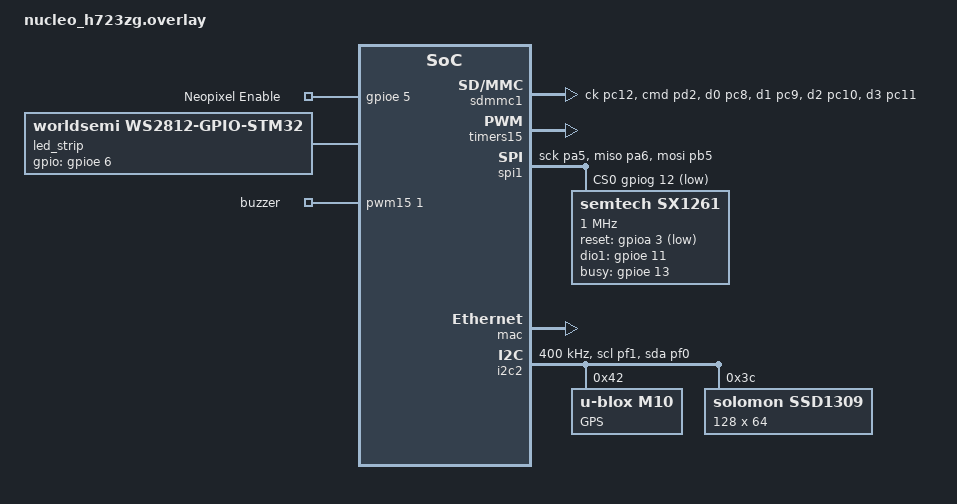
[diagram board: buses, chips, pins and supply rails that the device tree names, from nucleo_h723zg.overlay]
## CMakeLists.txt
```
cmake_minimum_required(VERSION 3.20.0)
set(BOARD nucleo_h723zg)
set(BOARD_FLASH_RUNNER openocd)
set(BOARD_DEBUG_RUNNER openocd)

set(MAVLINK_URL https://github.com/RedPropulsion/mavlink-generated)
set(MAVLINK_TAG main)

include(${CMAKE_CURRENT_SOURCE_DIR}/../../cmake/include_custom_modules.cmake)
find_package(Zephyr REQUIRED HINTS $ENV{ZEPHYR_BASE})
project(ObelICS)
zephyr_include_directories(include)
# ============ FONT GENERATION ============
set(gen_dir ${CMAKE_BINARY_DIR}/include/generated/)
find_package(Python3 REQUIRED COMPONENTS Interpreter)
add_custom_command(
    OUTPUT ${gen_dir}/cfb_font_templeos.h
    COMMAND 
        ${Python3_EXECUTABLE} 
        ${ZEPHYR_BASE}/scripts/build/gen_cfb_font_header.py
        --zephyr-base ${ZEPHYR_BASE}
        --input ${CMAKE_SOURCE_DIR}/fonts/templeos.otf
        --output ${gen_dir}/cfb_font_templeos.h
        --width 8
        --height 8
        -s 8
    DEPENDS ${CMAKE_SOURCE_DIR}/fonts/templeos.otf
    COMMENT "Generating CFB font header from templeos.otf"
)
add_custom_target(generate_cfb_font DEPENDS ${gen_dir}/cfb_font_templeos.h)
add_dependencies(app generate_cfb_font)

target_include_directories(app PRIVATE ${gen_dir})

target_sources(app PRIVATE
    src/main.c
    src/state_machine.c
)
```

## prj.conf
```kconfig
# Debug
CONFIG_DEBUG=y
CONFIG_FAULT_DUMP=2
CONFIG_EXTRA_EXCEPTION_INFO=y
CONFIG_CPU_LOAD=y
CONFIG_EARLY_CONSOLE=y
CONFIG_BOOT_BANNER=y
CONFIG_CLOCK_CONTROL_LOG_LEVEL_DBG=y
CONFIG_LOG=y
CONFIG_LOG_BACKEND_UART=y
CONFIG_LOG_DEFAULT_LEVEL=3
CONFIG_TRACING=y

CONFIG_STACK_SENTINEL=y
CONFIG_STACK_CANARIES=y

# CONFIG_THREAD_ANALYZER=y
# CONFIG_THREAD_ANALYZER_AUTO=y
# CONFIG_THREAD_ANALYZER_AUTO_INTERVAL=5
# CONFIG_THREAD_ANALYZER_USE_LOG=y


CONFIG_HEAP_MEM_POOL_SIZE=4096
CONFIG_MAIN_STACK_SIZE=4096
CONFIG_SYSTEM_WORKQUEUE_STACK_SIZE=4096
CONFIG_LOG_PROCESS_THREAD_STACK_SIZE=4096

# CONFIG_THREAD_RUNTIME_STATS=y
# CONFIG_WORKQUEUE_WORK_TIMEOUT=y



# Interfaces
CONFIG_GPIO=y
CONFIG_CONSOLE=y
CONFIG_SERIAL=y
CONFIG_UART_CONSOLE=y
CONFIG_SPI=y
CONFIG_I2C=y
CONFIG_PRINTK=y
CONFIG_EVENTS=y
CONFIG_UART_ASYNC_API=y

# SERVO
CONFIG_SERVO=y


#DMA
CONFIG_DMA=y
CONFIG_DCACHE=n
CONFIG_DMA_STM32=y
CONFIG_SPI_STM32_DMA=y


# I2C
CONFIG_I2C_STM32=y
CONFIG_I2C_STM32_V2_DMA=n

# PWM
CONFIG_PWM=y
CONFIG_PWM_STM32=y

## Sensor API
CONFIG_SENSOR_ASYNC_API=y

# LED strip support
CONFIG_LED_STRIP=y
CONFIG_WS2812_GPIO_STM32=y

# LoRa
CONFIG_LORA=y
CONFIG_LORA_INIT_PRIORITY=90
CONFIG_LORA_SX126X=y

# SD card support
CONFIG_FILE_SYSTEM=y
CONFIG_FILE_SYSTEM_LIB_LINK=y
CONFIG_DISK_ACCESS=y
CONFIG_SDMMC_STM32_CLOCK_CHECK=n
CONFIG_DISK_DRIVER_SDMMC=y
CONFIG_SDMMC_STM32=y
CONFIG_FAT_FILESYSTEM_ELM=y
CONFIG_MAIN_STACK_SIZE=4096
# Increase main stack size to accommodate file system operations

# Networking
CONFIG_NETWORKING=y
CONFIG_NET_L2_ETHERNET=y
CONFIG_NET_IPV4=y
CONFIG_NET_UDP=y
CONFIG_NET_SOCKETS=y
CONFIG_POSIX_API=y
CONFIG_ZVFS_POLL_MAX=10

CONFIG_NET_CONFIG_SETTINGS=y
CONFIG_NET_CONFIG_NEED_IPV4=y
CONFIG_NET_CONFIG_MY_IPV4_ADDR="192.168.1.100"
CONFIG_NET_CONFIG_MY_IPV4_NETMASK="255.255.255.0"
CONFIG_NET_CONFIG_MY_IPV4_GW="192.168.1.101"

# UDP Client
CONFIG_UDP_CLIENT=y

# Display module
CONFIG_LIB_DISPLAY=y

# Encoder input
CONFIG_ENCODER_INPUT=y

# Menu system
CONFIG_LIB_MENU=y
CONFIG_LIB_MENU_STACK_SIZE=2048
CONFIG_LIB_MENU_PRIORITY=10
CONFIG_LIB_MENU_MIN_REDRAW_MS=200

# Kernel poll API (required for menu)
CONFIG_POLL=y


# GNSS (M10)
CONFIG_GNSS=y
CONFIG_GNSS_U_BLOX_M10=y
# CONFIG_GNSS_LOG_LEVEL_WRN=y


# OLED display
CONFIG_DISPLAY=y
CONFIG_SSD1306=y
CONFIG_SSD1306_DEFAULT_CONTRAST=128
#Max brightness. Adjust as needed.

## Character framebuffer for display
CONFIG_CHARACTER_FRAMEBUFFER=y
CONFIG_CHARACTER_FRAMEBUFFER_USE_DEFAULT_FONTS=y

#MavLink
CONFIG_MAVWRAP=y
CONFIG_SERIAL=y
CONFIG_MAVWRAP_TRANSPORT_UART=y
CONFIG_MAVWRAP_DIALECT_COMMON=y

#Encoder input log level
CONFIG_ENCODER_INPUT_LOG_LEVEL=1
# Logger
CONFIG_FILE_LOGGER=y
```

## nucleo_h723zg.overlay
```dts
#include <zephyr/dt-bindings/led/led.h>
#include <zephyr/dt-bindings/pwm/pwm.h>
#include <zephyr/dt-bindings/clock/stm32h7_clock.h>




/ {
    chosen {
        zephyr,display = &ssd1309;
    };
    
    rotary_encoder: rotary_encoder {
        compatible = "panoramix,rotary-encoder";   /* custom, no driver binds to this */
        encoder_s: encoder_switch {
            gpios = <&gpiog 0 (GPIO_PULL_UP | GPIO_ACTIVE_LOW)>;
            label = "Encoder Switch";
        };
        encoder_a: encoder_a {
            gpios = <&gpiod 0 (GPIO_PULL_UP | GPIO_ACTIVE_HIGH)>;
            label = "Encoder Phase A";
        };
        encoder_b: encoder_b {
            gpios = <&gpiod 1 (GPIO_PULL_UP | GPIO_ACTIVE_HIGH)>;
            label = "Encoder Phase B";
        };
    };

    neopixel_enable: neopixel-enable {
        compatible = "gpio-keys";
        neopixel_en: neopixel_en {
            gpios = <&gpioe 5 GPIO_ACTIVE_HIGH>;
            label = "Neopixel Enable";
        };
    };

    led_strip: ws2812 {
        status = "okay";
        
        compatible = "worldsemi,ws2812-gpio-stm32";
        gpios = <&gpioe 6 GPIO_ACTIVE_HIGH>;
        chain-length = <4>;
        cpu-mhz = <550>;
        color-mapping = [ 01 02 03 ];
    };

	pwmdevices: pwmdevices {
		compatible = "pwm-leds";
		status = "okay";

		buzzer: buzzer {
			pwms = <&pwm15 1 250000
				(PWM_POLARITY_INVERTED | STM32_PWM_COMPLEMENTARY)>;
		};
	};

};

/* Clocks for SD */
/* Using default PLL1_Q (137.5MHz) with internal SDMMC divider = 3 gives ~45.8MHz */
/* Using interrupt mode (no DMA) to avoid MPU faults */
&sdmmc1 {
    disk-name = "SD";
    status = "okay";

    clk-div = <3>;  /* 137.5MHz / 3 = ~45.8MHz (within SD spec) */
    /delete-property/ dmas;  /* Use interrupt mode instead of DMA */
    pinctrl-0 = <&sdmmc1_ck_pc12 &sdmmc1_cmd_pd2 &sdmmc1_d0_pc8 &sdmmc1_d1_pc9 &sdmmc1_d2_pc10 &sdmmc1_d3_pc11>;
    pinctrl-names = "default";
};

/* Clocks for WS2812B */
&timers15 {
    status = "okay";
    st,prescaler = <31>;

    pwm15: pwm {
        status = "okay";
        pinctrl-0 = <&tim15_ch1n_pe4>;
        pinctrl-names = "default";
    };
};

/* DMA - disabled for now, I2C DMA not working on STM32H723 */
&dma1 {
    status = "okay";
};

&dmamux1 {
    status = "okay";
};


/**********************************************/
/*              Obelics LoRa                  */
/**********************************************/

&spi1 {
    status = "okay";
    pinctrl-names = "default";

    pinctrl-0 = <&spi1_sck_pa5 &spi1_miso_pa6 &spi1_mosi_pb5>;
    cs-gpios = <&gpiog 12 (GPIO_ACTIVE_LOW)>;

    lora_sx1261: lora@0 {
        status = "okay";
        compatible = "semtech,sx1261";
        reg = <0>;
        spi-max-frequency = <1000000>;
        label = "SX1261";

        reset-gpios = <&gpioa 3 (GPIO_ACTIVE_LOW | GPIO_PULL_UP)>;
        dio1-gpios = <&gpioe 11 (GPIO_PULL_DOWN | GPIO_ACTIVE_HIGH)>;
        busy-gpios = <&gpioe 13 (GPIO_PULL_UP | GPIO_ACTIVE_HIGH)>;
    };
};


/**********************************************/
/*              Ethernet                      */
/**********************************************/

&mac {
    status = "okay";
};


/**********************************************/
/*              GNSS (M10)                   */
/**********************************************/

&i2c2 {
    status = "okay";
    pinctrl-0 = <&i2c2_scl_pf1 &i2c2_sda_pf0>;
    pinctrl-names = "default";

    clock-frequency = <I2C_BITRATE_FAST>; /* 100kHz is too slow for M10, use 400kHz */

    dmas = <&dmamux1 0 36 STM32_DMA_PERIPH_TX>,
           <&dmamux1 1 35 STM32_DMA_PERIPH_RX>;

    dma-names = "tx", "rx";

    gps: gps@42 {
        compatible = "u-blox,m10";
        reg = <0x42>;
        label = "GPS";
    };


    ssd1309: ssd1309@3c {
        compatible = "solomon,ssd1309";
        label = "SSD1309";
        reg = <0x3c>;
        width = <128>;
        height = <64>;
        
        // SSD1309 specific settings (adjust based on panel vendor)
        segment-offset = <0>;
        page-offset = <0>;
        display-offset = <0>;
        multiplex-ratio = <63>;
        //segment-remap;
        //com-invdir;
        prechargep = <0x22>;
    };
};
```

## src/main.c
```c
#include <zephyr/kernel.h>
#include <zephyr/device.h>
#include <zephyr/drivers/gpio.h>
#include <zephyr/drivers/pwm.h>
#include <zephyr/sys/util.h>
#include <zephyr/drivers/lora.h>
#include <zephyr/logging/log.h>
#include <zephyr/logging/log_ctrl.h>
#include <zephyr/drivers/display.h>
#include <zephyr/fs/fs.h>
#include <zephyr/storage/disk_access.h>
#include <zephyr/drivers/led_strip.h>
#include <zephyr/display/cfb.h>
#include "sound.h"
#include "udp_client.h"
#include "gnss_u_blox_m10.h"
#include "display.h"
#include "menu.h"
#include <cfb_font_templeos.h>
#include <zephyr/drivers/i2c.h>
#include "file_logger.h"
#include <stdint.h>
#include <zephyr/drivers/servo.h>
#include <zephyr/drivers/uart.h>



LOG_MODULE_REGISTER(main, LOG_LEVEL_INF);

/* ------------------------------------------------------------------ *
 * File logger
 * ------------------------------------------------------------------ */

static struct file_logger_file log_file;

static void init_storage(void)
{
    int ret = file_logger_init();
    if (ret < 0) {
        LOG_ERR("Failed to init file logger: %d", ret);
        return;
    }

    ret = file_logger_open("/SD:/packets.log", FS_O_CREATE | FS_O_READ | FS_O_WRITE | FS_O_APPEND, &log_file);
    if (ret < 0) {
        LOG_ERR("Failed to open log file: %d", ret);
        return;
    }

    LOG_INF("File logger initialized and log file opened");
}

/* ------------------------------------------------------------------ *
 * LoRa
 * ------------------------------------------------------------------ */
#define LORA_NODE DT_NODELABEL(lora_sx1261)
static const struct device *lora_dev = DEVICE_DT_GET(LORA_NODE);
static struct lora_modem_config lora_tx_config;

/* ------------------------------------------------------------------ *
 * Neopixel
 * ------------------------------------------------------------------ */
#define STRIP_NODE  DT_NODELABEL(led_strip)
#define NUM_LEDS    DT_PROP(STRIP_NODE, chain_length)

static const struct device *strip = DEVICE_DT_GET(STRIP_NODE);
static const struct gpio_dt_spec neopixel_en =
    GPIO_DT_SPEC_GET(DT_NODELABEL(neopixel_en), gpios);

/* ------------------------------------------------------------------ *
 * Servo
 * ------------------------------------------------------------------ */

 const struct device *yaw_servo = DEVICE_DT_GET(DT_NODELABEL(yaw_servo));
 const struct device *pitch_servo = DEVICE_DT_GET(DT_NODELABEL(pitch_servo));

/* ------------------------------------------------------------------ *
 * Buzzer
 * ------------------------------------------------------------------ */

static const struct pwm_dt_spec buzzer = PWM_DT_SPEC_GET(DT_NODELABEL(buzzer));

/* ------------------------------------------------------------------ *
 * Button
 * ------------------------------------------------------------------ */
static const struct gpio_dt_spec user_btn =
    GPIO_DT_SPEC_GET(DT_NODELABEL(user_button), gpios);

static struct gpio_callback btn_cb_data;
static struct k_work button_work;
static uint8_t demo = 0;

void sound_finished_cb(void) {
    LOG_INF("Sound playback finished");
}

static void button_work_handler(struct k_work *work)
{
    ARG_UNUSED(work);
    LOG_INF("Button work: toggling sound demo");
    switch (demo++ % 4) {
    case 0: play_sound(success_sound, success_sound_len, sound_finished_cb); break;
    case 1: play_sound(alert_sound, alert_sound_len, sound_finished_cb); break;
    case 2: play_sound(acknowledge_sound, acknowledge_sound_len, sound_finished_cb); break;
    case 3: play_sound(error_sound, error_sound_len, sound_finished_cb); break;
    }
}

void button_handler(const struct device *dev, struct gpio_callback *cb,
                    uint32_t pins)
{
    k_work_submit(&button_work);
}

/* ------------------------------------------------------------------ *
 * LED blink timers
 * ------------------------------------------------------------------ */
struct led_data {
    struct gpio_dt_spec gpio;
    struct k_timer timer;
    int index;
};

static struct led_data leds[] = {
    { .gpio = GPIO_DT_SPEC_GET(DT_ALIAS(led0), gpios), .index = 0 },
    { .gpio = GPIO_DT_SPEC_GET(DT_ALIAS(led1), gpios), .index = 1 },
    { .gpio = GPIO_DT_SPEC_GET(DT_ALIAS(led2), gpios), .index = 2 }
};

volatile int selected_led = 0;
volatile uint32_t intervals[] = {500, 500, 500};

void led_timer_handler(struct k_timer *timer_id) {
    struct led_data *led = CONTAINER_OF(timer_id, struct led_data, timer);
    gpio_pin_toggle_dt(&led->gpio);
    k_timer_start(&led->timer, K_MSEC(intervals[led->index]), K_NO_WAIT);
}

/* ------------------------------------------------------------------ *
 * Oled Display
 * ------------------------------------------------------------------ */

const struct device *i2c_dev = DEVICE_DT_GET(DT_NODELABEL(i2c2));



/* ------------------------------------------------------------------ *
 * GPS
 * ------------------------------------------------------------------ */

 

/* ------------------------------------------------------------------ *
 * Main
 * ------------------------------------------------------------------ */
int main(void)
{   
     LOG_INF("Starting main()");
    int ret;

    int32_t angle_mdeg = 0;

    k_sleep(K_MSEC(500));

    LOG_INF("YAW - PING");
    ret = servo_ping(yaw_servo);
    LOG_INF("yaw ping ret=%d", ret);

    k_sleep(K_MSEC(200));

    LOG_INF("PITCH - PING");
    ret = servo_ping(pitch_servo);
    LOG_INF("pitch ping ret=%d", ret);

    k_sleep(K_MSEC(200));

    LOG_INF("YAW - SET - 0");
    ret = servo_set_position(yaw_servo, 0);
    LOG_INF("yaw set ret=%d", ret);

    k_msleep(50);

    LOG_INF("YAW - GET");
    ret = servo_get_position(yaw_servo, &angle_mdeg);
    LOG_INF("yaw get ret=%d pos=%d mdeg", ret, angle_mdeg);

    k_sleep(K_MSEC(500));

    LOG_INF("PITCH - SET - 210");
    ret = servo_set_position(pitch_servo, 210 * 1000);
    LOG_INF("pitch set ret=%d", ret);

    k_msleep(50);

    LOG_INF("PITCH - GET");
    ret = servo_get_position(pitch_servo, &angle_mdeg);
    LOG_INF("pitch get ret=%d pos=%d mdeg", ret, angle_mdeg);

    k_sleep(K_MSEC(500));

    LOG_INF("YAW - SET - 90");
    ret = servo_set_position(yaw_servo, 90 * 1000);
    LOG_INF("yaw set ret=%d", ret);

    k_msleep(50);

    LOG_INF("YAW - GET");
    ret = servo_get_position(yaw_servo, &angle_mdeg);
    LOG_INF("yaw get ret=%d pos=%d mdeg", ret, angle_mdeg);

    uint8_t pitch_status = 0;
    LOG_INF("PITCH - GET - STATUS");
    ret = servo_get_status(pitch_servo, &pitch_status);
    LOG_INF("pitch status ret=%d status=0x%02X", ret, pitch_status);

    k_msleep(500);

    LOG_INF("PITCH - SET - 260");
    ret = servo_set_position(pitch_servo, 260 * 1000);
    LOG_INF("pitch set ret=%d", ret);

    k_msleep(50);

    LOG_INF("PITCH - GET");
    ret = servo_get_position(pitch_servo, &angle_mdeg);
    LOG_INF("pitch get ret=%d pos=%d mdeg", ret, angle_mdeg);
    

    if (!device_is_ready(i2c_dev)) {
        LOG_ERR("I2C device not ready");
        return 0;
    }
    // i2c_scan_bus(i2c_dev);


/* Oled Display */
    ret = display_init();
    if (ret < 0) {
        LOG_ERR("Display init failed: %d", ret);
    }
    display_string("test");
    display_update_row(0, "Starting");

    // cfb_framebuffer_finalize(disp);


    // uint8_t width, height;
    // uint8_t num_fonts = cfb_get_numof_fonts(disp);

    // // Loop through available fonts to get their dimensions
    // for (uint8_t i = 0; i < num_fonts; i++) {
    //     cfb_get_font_size(disp, i, &width, &height);
    //     // printk("Font Index %d: %dx%d pixels\n", i, width, height);
    //     cfb_framebuffer_set_font(disp, i);
    //     display_string("Font %d: %dx%d", i, width, height);
    //     k_sleep(K_SECONDS(2));
    // }

    // cfb_framebuffer_set_font(disp, 0);

    #ifdef CONFIG_FAT_FILESYSTEM_ELM
    /* Initialize file logger */
    init_storage();

    /* Write test message to log file */
    ret = file_logger_write_str(&log_file, "Start\n");
    if (ret < 0) {
        LOG_ERR("Failed to write to log file: %d", ret);
    } else {
        file_logger_flush(&log_file);
        LOG_DBG("Wrote test to log file"); 
    }

    /* Read back to verify */
    file_logger_seek(&log_file, 0, FS_SEEK_SET);
    char read_buff[64];
    int len = file_logger_read_str(&log_file, read_buff, sizeof(read_buff));
    LOG_INF("Log file content (%d bytes): %s", len, read_buff);

    /* Clear log file content by removing and recreating it */
    file_logger_close(&log_file);
    file_logger_remove("/SD:/packets.log");
    file_logger_open("/SD:/packets.log", FS_O_CREATE | FS_O_READ | FS_O_WRITE | FS_O_APPEND, &log_file);
    #endif

    /* Initialize LoRa device */
    if (!device_is_ready(lora_dev)) {
        LOG_ERR("LoRa device not ready");
    } else {
        lora_tx_config.frequency = 868000000;
        lora_tx_config.bandwidth = BW_250_KHZ;
        lora_tx_config.datarate = SF_8;
        lora_tx_config.coding_rate = CR_4_5;
        lora_tx_config.preamble_len = 12;
        lora_tx_config.tx_power = 14;
        lora_tx_config.tx = true;
        lora_tx_config.iq_inverted = false;
        lora_tx_config.public_network = false;

        ret = lora_config(lora_dev, &lora_tx_config);
        if (ret < 0) {
            LOG_ERR("LoRa config failed: %d", ret);
        } else {
            LOG_INF("LoRa initialized: 868 MHz, SF8, 14 dBm");
        }
    }    
    char buf[255] = {0};
    int16_t RSSI;
    int8_t SNR;

    display_update_row(1,"LoRa ok");

    /* Neopixel enable */
    gpio_pin_configure_dt(&neopixel_en, GPIO_OUTPUT_ACTIVE);
    gpio_pin_set_dt(&neopixel_en, 1);

    if (!device_is_ready(strip)) {
        LOG_ERR("LED strip device not ready");
        return -ENODEV;
    }


    if (!device_is_ready(buzzer.dev)) {
        LOG_ERR("Buzzer PWM not ready");
        return -ENODEV;
    }
    k_work_init(&button_work, button_work_handler);
    LOG_INF("Buzzer pointer %p", (void *)&buzzer);
    sound_init(&buzzer);

    
    /* LEDs */
    for (int i = 0; i < ARRAY_SIZE(leds); i++) {
        if (!gpio_is_ready_dt(&leds[i].gpio)) {
            LOG_ERR("LED %d not ready", i);
            return 0;
        }
        gpio_pin_configure_dt(&leds[i].gpio, GPIO_OUTPUT_ACTIVE);
        k_timer_init(&leds[i].timer, led_timer_handler, NULL);
        k_timer_start(&leds[i].timer, K_MSEC(intervals[i]), K_NO_WAIT);
    }

    display_update_row(2, "LED,Sound OK");


    /* B1 User button */
    if (!gpio_is_ready_dt(&user_btn)) {
        LOG_ERR("User button not ready");
        return 0;
    }
    gpio_pin_configure_dt(&user_btn, GPIO_INPUT);

    ret = gpio_pin_interrupt_configure_dt(&user_btn, GPIO_INT_EDGE_FALLING);

    gpio_init_callback(&btn_cb_data, button_handler, BIT(user_btn.pin));
    ret = gpio_add_callback(user_btn.port, &btn_cb_data);

    display_update_row(3, "Buttons OK");

    display_update_row(4, "UDP init");
    udp_client_init();
    display_update_row(5, "UDP Ok");


    struct gps_position pos;
    if (gps_get_latest(&pos) == 0) {
        LOG_INF("GPS: %s data \n\t\t %d sats\n\t\t %d fix type  ",pos.valid ? "Valid" : "Invalid", pos.satellites, pos.fix_type);
        display_update_row(6, "GPS: %d sats", pos.satellites);
    } else {
        display_update_row(6, "GPS: No fix");
    }


    struct led_rgb pixels[NUM_LEDS] = {0};
    bool toggle = false;
    uint8_t tx_buf[] = "Hello from Obelics!";
    

    LOG_INF("Starting main loop...");
    // display_string("Main loop");
    display_update_row(5, "Init complete");
    k_sleep(K_MSEC(1000));

    display_clear_text();

    menu_init();

    menu_start();

    int lora_counter = 0;
    int row=0;
    while (1) {

        // display_string("Running main loop...");
        /* LoRa TX every 5 seconds */
        if (device_is_ready(lora_dev)) {
            int err = lora_send(lora_dev, tx_buf, sizeof(tx_buf));
            if (err == 0) {
                LOG_DBG("LoRa TX #%d: %d bytes", lora_counter++, (int)sizeof(tx_buf));
            } else {
                LOG_ERR("LoRa TX failed: %d", err);
            }
        }

        memset(pixels, 0, sizeof(pixels));
        if (toggle) {
            pixels[0].r = 128;
            pixels[3].r = 128;
            pixels[3].b = 128;
        } else {
            pixels[1].b = 128;
            pixels[2].g = 128;
        }
        toggle = !toggle;

        if (!menu_demo_active()) {
            led_strip_update_rgb(strip, pixels, NUM_LEDS);
        }

        

        int err = lora_recv(lora_dev, buf, sizeof(buf), K_SECONDS(2), &RSSI, &SNR);
        if (err == -EAGAIN) {
            LOG_DBG("No LoRa RX data yet");
            // display_update_row(7, "No LoRa RX data");
        } else if (err < 0) {
          menu_update_lora_stats(lora_counter, err, 0, 0);
            LOG_ERR("LoRa RX failed: %d", err);
            // display_update_row(7, "LoRa RX failed: %d", err);
        } else {
          menu_update_lora_stats(lora_counter, err, (int16_t)RSSI, (int8_t)SNR);
            LOG_INF("LoRa RX: %d bytes: %s", err, buf);
            LOG_INF("RSSI: %d, SNR: %d", RSSI, SNR);
            // display_update_row(7, "RSSI:%d SNR:%d", RSSI, SNR);
        }
        row = (row + 1) % 8; // cycle through display rows for updates


        // LOG_DBG("GPS: %02d/%02d/%04d %02d:%02d:%02d.%03u | "
        //                             "lat=%d, lon=%d, alt=%dmm | "
        //                             "sats=%d, fix=%d, hdop=%d | "
        //                             "speed=%dmm/s, heading=%d.%05d | "
        //                             "acc: horiz=%umm, vert=%umm",
        //                             pos.day, pos.month, pos.year,
        //                             pos.hour, pos.minute, pos.second, pos.nanosecond / 1000000,
        //                             pos.latitude, pos.longitude, pos.altitude_mm,
        //                             pos.satellites, pos.fix_type, pos.hdop,
        //                             pos.speed_mm_s, pos.heading_1e5 / 100000, pos.heading_1e5 % 100000,
        //                             pos.horiz_acc_mm, pos.vert_acc_mm);

        ret = gps_get_latest(&pos);
        if (ret == 0 && pos.valid) {
          menu_update_gps(true, pos.satellites, pos.fix_type, pos.latitude, pos.longitude, pos.altitude_mm);
            // display_update_row(0, "%d sats fix=%d", pos.satellites, pos.fix_type);
            // display_update_row(1, "lat%d", pos.latitude);
            // display_update_row(2,"lon%d", pos.longitude);
            // display_update_row(3,"alt%d", (int)(pos.altitude_mm/1000));
            // display_update_row(4,"h:%d v:%d", (int)(pos.horiz_acc_mm), (int)(pos.vert_acc_mm));   
            // display_update_row(5, "%02d:%02d:%02d", pos.hour, pos.minute, pos.second);
        } else {
            // display_update_row(0, "GPS: No fix");
        }
        // k_sleep(K_SECONDS(1));
    }
    return 0;
}


void k_sys_fatal_error_handler(unsigned int reason,
                               const struct arch_esf *esf) {
  const struct gpio_dt_spec error_led =
      GPIO_DT_SPEC_GET(DT_ALIAS(led0), gpios);

  LOG_PANIC();

  while (1) {
    display_string("FATAL ERROR");
    LOG_ERR("I'M PANICKING");
    gpio_pin_toggle_dt(&error_led);
    k_busy_wait(500 * 1000);
  }

  k_fatal_halt(reason);
}
```

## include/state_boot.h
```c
#ifndef OBELIX_STATE_BOOT
#define OBELIX_STATE_BOOT

#include <file_logger.h>
#include "state_machine.h"








#endif //OBELIX_STATE_BOOT
```

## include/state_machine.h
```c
#ifndef OBELIX_STATE_MACHINE_H_
#define OBELIX_STATE_MACHINE_H_

#include <zephyr/kernel.h>
#include <zephyr/device.h>
#include <zephyr/smf.h>

#include <mavwrap.h>

#define STATE_MACHINE_STACK_SIZE 10247


#define RX_QUEUE_SIZE 16

K_MSGQ_DEFINE(lora_rx_queue, sizeof(mavlink_message_t), RX_QUEUE_SIZE,
              sizeof(void *));

K_MSGQ_DEFINE(netif_rx_queue, sizeof(mavlink_message_t), RX_QUEUE_SIZE,
              sizeof(void *));


enum obelics_state { STATE_BOOT, STATE_MASTER, STATE_ARMED, STATE_RECEIVER };

enum sm_event {
    SM_EVT_ARM_SENT,       // user sent ARM command
    SM_EVT_ARM_ACK,        // Asterics acknowledged ARM
    SM_EVT_DISARM_SENT,    // user sent DISARM command
    SM_EVT_DISARM_ACK,     // Asterics acknowledged DISARM
    SM_EVT_UNSOLICITED,    // unsolicited telemetry from Asterics
};


struct sfm_state {
  struct smf_ctx ctx;

  enum obelics_state current;
  struct k_thread thread;
  k_thread_stack_t stack[STATE_MACHINE_STACK_SIZE];
  struct file_logger_file *log_file;
  
} __sfm_state;

int  state_machine_init(void);
int  state_machine_start(void);
int  state_machine_post_event(enum sm_event evt, const mavlink_message_t *msg);
int  state_machine_send(const struct device *dev, const mavlink_message_t *msg);  // send gate
enum obelics_state state_machine_get_state(void);

void lora_rx_callback(const struct device *dev,
    const mavlink_message_t *msg, void *user_data);
void netif_rx_callback(const struct device *dev,
    const mavlink_message_t *msg, void *user_data);


enum neopixel_status {
    OK,
    PROCESSING,
    WARN,
    ERR,
    OFF
};

enum neopixel_led {
    COMMS,
    ASTERICS,
    FIX,
    SENSOR_STATUS
};

void led_strip_status(enum neopixel_led, enum neopixel_status);

#endif //OBELIX_STATE_MACHINE_H_
```

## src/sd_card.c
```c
/**
 * @file sd_card.c
 * @brief SD card logging module implementation
 *
 * Non-blocking writes with background sync thread.
 * Uses dual buffer strategy: write buffer and sync buffer.
 */

#define LOG_LEVEL LOG_LEVEL_INF
#include <zephyr/logging/log.h>
LOG_MODULE_REGISTER(sd_card);

#include <zephyr/kernel.h>
#include <zephyr/fs/fs.h>
#include <zephyr/storage/disk_access.h>
#include <ff.h>
#include <string.h>
#include <stdio.h>
#include <time.h>

#include "sd_card.h"

/* Buffer configuration */
#define SD_WRITE_BUFFER_SIZE 4096
#define SD_SYNC_STACK_SIZE 512
#define SD_SYNC_PRIORITY 8

/* FatFs work area and mount point */
static FATFS fatfs_fs;
static struct fs_mount_t fat_fs_mnt = {
    .type = FS_FATFS,
    .fs_data = &fatfs_fs,
    .mnt_point = "/SD:",
};

/* Write buffer (filled by sd_card_write) */
static uint8_t write_buffer[SD_WRITE_BUFFER_SIZE];
static size_t write_buffer_pos;

/* File handle for session */
static FIL session_file;
static bool session_open;

/* Mount state */
static bool sd_mounted;

/* Sync thread control */
static struct k_sem sync_sem;
static bool sync_thread_running;
static struct k_thread sync_thread;
static K_THREAD_STACK_DEFINE(sync_thread_stack, SD_SYNC_STACK_SIZE);

/**
 * @brief Internal: List directory contents
 */
static int lsdir(const char *path)
{
    int res;
    struct fs_dir_t dirp;
    static struct fs_dirent entry;

    fs_dir_t_init(&dirp);

    res = fs_opendir(&dirp, path);
    if (res) {
        LOG_WRN("Error opening dir %s [%d]", path, res);
        return res;
    }

    LOG_INF("Listing dir %s ...", path);
    for (;;) {
        res = fs_readdir(&dirp, &entry);

        if (res || entry.name[0] == 0) {
            break;
        }

        if (entry.type == FS_DIR_ENTRY_DIR) {
            LOG_DBG("[DIR ] %s", entry.name);
        } else {
            LOG_INF("[FILE] %s (size = %zu)", entry.name, entry.size);
        }
    }

    fs_closedir(&dirp);
    return res;
}

/**
 * @brief Internal: Flush write buffer to disk
 */
static int flush_buffer(void)
{
    UINT bw;
    int res;

    if (write_buffer_pos == 0) {
        return 0;
    }

    if (!session_open) {
        LOG_WRN("No session file open, discarding %zu bytes", write_buffer_pos);
        write_buffer_pos = 0;
        return 0;
    }

    res = f_write(&session_file, write_buffer, write_buffer_pos, &bw);
    if (res != FR_OK) {
        LOG_ERR("f_write failed: %d", res);
        return -EIO;
    }

    if (bw != write_buffer_pos) {
        LOG_WRN("Partial write: %u/%zu", bw, write_buffer_pos);
    }

    write_buffer_pos = 0;
    return 0;
}

/**
 * @brief Sync thread: waits for sync requests and writes to SD
 */
static void sync_thread_fn(void *a, void *b, void *c)
{
    ARG_UNUSED(a);
    ARG_UNUSED(b);
    ARG_UNUSED(c);

    LOG_INF("Sync thread started");

    while (sync_thread_running) {
        k_sem_take(&sync_sem, K_FOREVER);

        if (!sync_thread_running) {
            break;
        }

        flush_buffer();

        if (session_open) {
            f_sync(&session_file);
        }
    }

    LOG_INF("Sync thread stopped");
}

int sd_card_init(void)
{
    int res;
    uint32_t block_count;
    uint32_t block_size;
    uint64_t memory_size_mb;

    LOG_INF("Initializing SD card");

    /* Initialize disk */
    static const char *disk_pdrv = "SD";

    if (disk_access_init(disk_pdrv) != 0) {
        LOG_ERR("Storage init failed");
        return -EIO;
    }

    if (disk_access_ioctl(disk_pdrv, DISK_IOCTL_GET_SECTOR_COUNT, &block_count)) {
        LOG_ERR("Unable to get sector count");
        return -EIO;
    }

    if (disk_access_ioctl(disk_pdrv, DISK_IOCTL_GET_SECTOR_SIZE, &block_size)) {
        LOG_ERR("Unable to get sector size");
        return -EIO;
    }

    memory_size_mb = (uint64_t)block_count * block_size;
    LOG_INF("SD card: %u sectors, %u bytes/sector, %llu MB",
           block_count, block_size, memory_size_mb >> 20);

    /* Mount filesystem */
    res = fs_mount(&fat_fs_mnt);
    if (res != 0) {
        LOG_ERR("Mount failed: %d", res);
        return res;
    }

    sd_mounted = true;
    LOG_INF("SD Card mounted at %s", fat_fs_mnt.mnt_point);

    /* Initialize write buffer */
    write_buffer_pos = 0;

    /* Initialize sync semaphore */
    k_sem_init(&sync_sem, 0, 1);

    /* List files */
    lsdir(fat_fs_mnt.mnt_point);

    return 0;
}

int sd_card_create_session(char *filename, size_t max_len)
{
    time_t now;
    struct tm timeinfo;
    char filepath[64];
    FRESULT fres;
    UINT bw;
    struct session_header header;

    if (!sd_card_is_mounted()) {
        LOG_ERR("SD card not mounted");
        return -ENODEV;
    }

    /* Generate filename */
    (void)time(&now);
    (void)gmtime_r(&now, &timeinfo);

    snprintf(filepath, sizeof(filepath), "%s/FLIGHT_%04d%02d%02d_%02d%02d%02d.bin",
            fat_fs_mnt.mnt_point,
            timeinfo.tm_year + 1900,
            timeinfo.tm_mon + 1,
            timeinfo.tm_mday,
            timeinfo.tm_hour,
            timeinfo.tm_min,
            timeinfo.tm_sec);

    /* Create file */
    fres = f_open(&session_file, filepath, FA_CREATE_ALWAYS | FA_WRITE);
    if (fres != FR_OK) {
        LOG_ERR("f_open failed: %d", fres);
        return -EIO;
    }

    session_open = true;
    write_buffer_pos = 0;

    /* Write header */
    memset(&header, 0, sizeof(header));
    header.magic = SESSION_MAGIC;
    header.start_time = k_uptime_get_32();

    fres = f_write(&session_file, &header, sizeof(header), &bw);
    if (fres != FR_OK || bw != sizeof(header)) {
        LOG_ERR("Header write failed");
        f_close(&session_file);
        session_open = false;
        return -EIO;
    }

    /* Sync header immediately */
    f_sync(&session_file);

    /* Return filename */
    snprintf(filename, max_len, "%s", filepath);

    LOG_INF("Created session file: %s", filename);

    /* Start sync thread */
    sync_thread_running = true;
    k_thread_create(&sync_thread,
                    sync_thread_stack,
                    SD_SYNC_STACK_SIZE,
                    sync_thread_fn,
                    NULL, NULL, NULL,
                    SD_SYNC_PRIORITY,
                    0,
                    K_NO_WAIT);

    return 0;
}

int sd_card_write(const uint8_t *data, size_t len)
{
    size_t remaining = len;

    if (!sd_card_is_mounted()) {
        return -ENODEV;
    }

    if (!session_open) {
        return -ENODEV;
    }

    /* Handle data larger than buffer */
    while (remaining > 0) {
        size_t space = SD_WRITE_BUFFER_SIZE - write_buffer_pos;

        if (len > space) {
            memcpy(&write_buffer[write_buffer_pos], data, space);
            write_buffer_pos = SD_WRITE_BUFFER_SIZE;
            data += space;
            remaining -= space;

            k_sem_give(&sync_sem);
        } else {
            memcpy(&write_buffer[write_buffer_pos], data, remaining);
            write_buffer_pos += remaining;
            remaining = 0;
        }
    }

    return 0;
}

int sd_card_sync(void)
{
    if (!session_open) {
        return 0;
    }

    k_sem_give(&sync_sem);
    return 0;
}

int sd_card_close_session(void)
{
    FRESULT fres;

    if (!session_open) {
        return 0;
    }

    LOG_INF("Closing session");

    /* Signal sync thread to stop */
    sync_thread_running = false;
    k_sem_give(&sync_sem);

    /* Final flush */
    flush_buffer();

    fres = f_sync(&session_file);
    if (fres != FR_OK) {
        LOG_ERR("f_sync failed: %d", fres);
        return -EIO;
    }

    fres = f_close(&session_file);
    session_open = false;

    if (fres != FR_OK) {
        LOG_ERR("f_close failed: %d", fres);
        return -EIO;
    }

    write_buffer_pos = 0;

    LOG_INF("Session closed");
    return 0;
}

int sd_card_list_files(void)
{
    if (!sd_card_is_mounted()) {
        return -ENODEV;
    }

    return lsdir(fat_fs_mnt.mnt_point);
}

int sd_card_read_header(const char *filename, struct session_header *header)
{
    FIL file;
    FRESULT fres;
    UINT br;

    fres = f_open(&file, filename, FA_READ);
    if (fres != FR_OK) {
        LOG_ERR("f_open failed: %d", fres);
        return -EIO;
    }

    fres = f_read(&file, header, sizeof(*header), &br);
    f_close(&file);

    if (fres != FR_OK) {
        LOG_ERR("f_read failed: %d", fres);
        return -EIO;
    }

    if (br != sizeof(*header)) {
        LOG_ERR("Partial read: %u/%zu", br, sizeof(*header));
        return -EIO;
    }

    return 0;
}

bool sd_card_is_mounted(void)
{
    return sd_mounted;
}
```

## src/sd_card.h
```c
/**
 * @file sd_card.h
 * @brief SD card logging module for Obelics
 *
 * Provides non-blocking SD card writes with background sync thread.
 * Designed for logging MavLink packets during rocket flight sessions.
 */

#ifndef SD_CARD_H
#define SD_CARD_H

#include <zephyr/kernel.h>
#include <stdint.h>
#include <stddef.h>

/* Session header structure */
struct session_header {
    uint32_t magic;
    uint32_t start_time;
    int32_t  rtt_offset;
    uint8_t  reserved[8];
};

#define SESSION_MAGIC 0x524C4731  /* "RLG1" - Rocket Log */

/**
 * @brief Initialize SD card and mount filesystem
 *
 * @return 0 on success, negative errno on error
 */
int sd_card_init(void);

/**
 * @brief Create a new session file
 *
 * @param filename Buffer to store filename (output)
 * @param max_len Maximum filename buffer size
 * @return 0 on success, negative errno on error
 */
int sd_card_create_session(char *filename, size_t max_len);

/**
 * @brief Write data to session file (non-blocking)
 *
 * Data is buffered in RAM. Actual write to SD happens:
 * - When buffer fills
 * - When sd_card_sync() is called
 * - When session ends
 *
 * @param data Data to write
 * @param len Number of bytes to write
 * @return 0 on success, negative errno on error
 */
int sd_card_write(const uint8_t *data, size_t len);

/**
 * @brief Sync buffered data to SD card
 *
 * Call this periodically to ensure data is written.
 * Also called automatically at session end.
 *
 * @return 0 on success, negative errno on error
 */
int sd_card_sync(void);

/**
 * @brief Flush all pending writes and close session
 *
 * @return 0 on success, negative errno on error
 */
int sd_card_close_session(void);

/**
 * @brief List files on SD card
 *
 * @return 0 on success, negative errno on error
 */
int sd_card_list_files(void);

/**
 * @brief Read session header from file
 *
 * @param filename Filename to read
 * @param header Pointer to header structure (output)
 * @return 0 on success, negative errno on error
 */
int sd_card_read_header(const char *filename, struct session_header *header);

/**
 * @brief Check if SD card is mounted
 *
 * @return true if mounted, false otherwise
 */
bool sd_card_is_mounted(void);

#endif /* SD_CARD_H */
```

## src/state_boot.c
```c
#include <zephyr/logging/log.h>
#include <zephyr/drivers/pwm.h>
#include <zephyr/drivers/gpio.h>
#include <zephyr/drivers/led_strip.h>


#include <display.h>
#include <menu.h>

#include "state_machine.h"
#include "zephyr/smf.h"
#include "state_boot.h"


LOG_MODULE_REGISTER(Boot);

#define STRIP_NODE  DT_NODELABEL(led_strip)
#define NUM_LEDS    DT_PROP(STRIP_NODE, chain_length)

static const struct device *strip = DEVICE_DT_GET(STRIP_NODE);
static const struct gpio_dt_spec neopixel_en =
    GPIO_DT_SPEC_GET(DT_NODELABEL(neopixel_en), gpios);


static const struct device *mavlink_lora =
    DEVICE_DT_GET(DT_NODELABEL(mavlink_lora));

static const struct device *mavlink_udp =
    DEVICE_DT_GET(DT_NODELABEL(mavlink_netif));    

static const struct pwm_dt_spec buzzer = PWM_DT_SPEC_GET(DT_NODELABEL(buzzer));
// const struct device *i2c_dev = DEVICE_DT_GET(DT_NODELABEL(i2c2));

static void init_storage(){
  int ret = file_logger_init();
    if (ret < 0) {
        LOG_ERR("Failed to init file logger: %d", ret);
        return;
    }

    ret = file_logger_open("/SD:/packets.log", FS_O_CREATE | FS_O_READ | FS_O_WRITE | FS_O_APPEND, __sfm_state.log_file);
    if (ret < 0) {
        LOG_ERR("Failed to open log file: %d", ret);
        return;
    }

    LOG_INF("File logger initialized and log file opened");
}


struct led_data {
    struct gpio_dt_spec gpio;
    struct k_timer timer;
    int index;
};

static struct led_data leds[] = {
    { .gpio = GPIO_DT_SPEC_GET(DT_ALIAS(led0), gpios), .index = 0 },
    { .gpio = GPIO_DT_SPEC_GET(DT_ALIAS(led1), gpios), .index = 1 },
    { .gpio = GPIO_DT_SPEC_GET(DT_ALIAS(led2), gpios), .index = 2 }
};

volatile uint32_t intervals[] = {500, 500, 500};

void led_timer_handler(struct k_timer *timer_id) {
    struct led_data *led = CONTAINER_OF(timer_id, struct led_data, timer);
    gpio_pin_toggle_dt(&led->gpio);
    k_timer_start(&led->timer, K_MSEC(intervals[led->index]), K_NO_WAIT);
}

void boot_entry(){
    int ret;
    LOG_INF("Booting");

    ret = display_init();
    if (ret < 0) {
        LOG_ERR("Display init failed: %d", ret);
    }
    display_update_row(0, "Starting");


    /* Neopixel enable */
    gpio_pin_configure_dt(&neopixel_en, GPIO_OUTPUT_ACTIVE);
    gpio_pin_set_dt(&neopixel_en, 1);

    if (!device_is_ready(strip)) {
        LOG_ERR("LED strip device not ready");
        return;
    }


    if (!device_is_ready(buzzer.dev)) {
        LOG_ERR("Buzzer PWM not ready");
        return;
    }

    for (int i = 0; i < ARRAY_SIZE(leds); i++) {
        if (!gpio_is_ready_dt(&leds[i].gpio)) {
            LOG_ERR("LED %d not ready", i);
            return;
        }
        gpio_pin_configure_dt(&leds[i].gpio, GPIO_OUTPUT_ACTIVE);
        k_timer_init(&leds[i].timer, led_timer_handler, NULL);
        k_timer_start(&leds[i].timer, K_MSEC(intervals[i]), K_NO_WAIT);
    }

    display_update_row(1, "LED,Sound OK");


    #ifdef CONFIG_FAT_FILESYSTEM_ELM
    /* Initialize file logger */
    init_storage();

    /* Write test message to log file */
    ret = file_logger_write_str(__sfm_state.log_file, "Start\n");
    if (ret < 0) {
        LOG_ERR("Failed to write to log file: %d", ret);
    } else {
        file_logger_flush(__sfm_state.log_file);
        LOG_DBG("Wrote test to log file"); 
    }

    /* Read back to verify */
    file_logger_seek(__sfm_state.log_file, 0, FS_SEEK_SET);
    char read_buff[64];
    int len = file_logger_read_str(__sfm_state.log_file, read_buff, sizeof(read_buff));
    LOG_INF("Log file content (%d bytes): %s", len, read_buff);

    /* Clear log file content by removing and recreating it */
    file_logger_close(__sfm_state.log_file);
    file_logger_remove("/SD:/packets.log");
    file_logger_open("/SD:/packets.log", FS_O_CREATE | FS_O_READ | FS_O_WRITE | FS_O_APPEND, __sfm_state.log_file);
    display_update_row(2, "Storage Ok");
    #endif

    display_update_row(3, "MAVLink init");
    mavwrap_start(mavlink_lora, lora_rx_callback, NULL);
    mavwrap_start(mavlink_udp, lora_rx_callback, NULL);
    display_update_row(4, "MAVLink Ok");

    struct led_rgb pixels[NUM_LEDS] = {0};
    memset(pixels, 0, sizeof(pixels));

    
    display_update_row(5, "Init complete");
    k_sleep(K_MSEC(1000));

    display_update_row( 6, "Menu Starting");
    LOG_INF("Menu: Starting");
    menu_start();
};


enum smf_state_result boot_run(){
    smf_set_state(ctx, )
    return SMF_EVENT_HANDLED;
};

void boot_exit(){
    return;
};
```

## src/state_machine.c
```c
#include <zephyr/kernel.h>
#include <zephyr/arch/arch_interface.h>
#include <zephyr/kernel/thread.h>
#include <zephyr/logging/log.h>
#include <zephyr/drivers/gpio.h>
#include <zephyr/drivers/led_strip.h>

#include <file_logger.h>
#include <menu.h>

#include "state_machine.h"


LOG_MODULE_REGISTER(StateMachine);

#define STATE_MACHINE_PRIORITY 5

static const struct device *mavlink_lora =
    DEVICE_DT_GET(DT_NODELABEL(mavlink_lora));

static const struct device *mavlink_udp =
    DEVICE_DT_GET(DT_NODELABEL(mavlink_netif));


#define STRIP_NODE  DT_NODELABEL(led_strip)
#define NUM_LEDS    DT_PROP(STRIP_NODE, chain_length)

static const struct device *strip = DEVICE_DT_GET(STRIP_NODE);
static const struct gpio_dt_spec neopixel_en =
    GPIO_DT_SPEC_GET(DT_NODELABEL(neopixel_en), gpios);

struct led_rgb pixels[NUM_LEDS] = {0};


void boot_entry();
enum smf_state_result boot_run();
void boot_exit();

void master_entry();
enum smf_state_result master_run();
void master_exit();

void armed_entry();
enum smf_state_result armed_run();
void armed_exit();

void receiver_entry();
enum smf_state_result receiver_run();
void receiver_exit();

const struct smf_state obelics_states[] = {
  [STATE_BOOT] =
      SMF_CREATE_STATE(boot_entry, boot_run, boot_exit, NULL, NULL),
  [STATE_MASTER] =
      SMF_CREATE_STATE(master_entry, master_run, master_exit, NULL, NULL),
  [STATE_ARMED] =
      SMF_CREATE_STATE(armed_entry, armed_run, armed_exit, NULL, NULL),
  [STATE_RECEIVER] = SMF_CREATE_STATE(receiver_entry, receiver_run,
                                        receiver_exit, NULL, NULL)
};

int state_machine_init() {
     __sfm_state.current = STATE_BOOT; 
     return 0;
};

void lora_rx_callback(const struct device *dev,
                             const mavlink_message_t *msg, void *user_data) {
  int ret = k_msgq_put(&lora_rx_queue, msg, K_NO_WAIT);
  if (ret < 0) {
    LOG_ERR("Queue overflow, clearing...");
    k_msgq_purge(&lora_rx_queue);
    k_msgq_put(&lora_rx_queue, msg, K_NO_WAIT);
  }

  struct mavwrap_stats stats;
  ret = mavwrap_get_stats(dev, &stats);
  if (ret < 0) {
    LOG_ERR("\tCouldn't get LORA stats: %s", strerror(-ret));
  } else {
    LOG_DBG("\tRSSI: %d\tSNR: %d", stats.rx_rssi, stats.rx_snr);
    if (stats.tx_errors) {
      LOG_WRN("\ttx errors: %d", stats.tx_errors);
    }
  }

  menu_update_lora_stats(stats.rx_packets, stats.tx_packets, stats.rx_rssi,
                         stats.rx_snr);

  mavwrap_send_message(mavlink_udp, msg);
};

void netif_rx_callback(const struct device *dev,
                              const mavlink_message_t *msg, void *user_data) {
    //TODO: add packet dropping pabes on state
    int ret = k_msgq_put(&netif_rx_queue, msg, K_NO_WAIT);
    if (ret < 0) {
      LOG_ERR("Queue overflow, clearing...");
      k_msgq_purge(&lora_rx_queue);
      k_msgq_put(&lora_rx_queue, msg, K_NO_WAIT);
    }

    state_machine_send(mavlink_lora, msg);
};


void led_strip_status(enum neopixel_led led, enum neopixel_status status){
  switch (status) {
    case OK:
      break;
    case PROCESSING:
      break;
    case WARN:
      break;
    case ERR:
      break;
    case OFF:
     pixels[led].r = 0;
     pixels[led].g = 0;
     pixels[led].b = 0;
      break;
  }   
};
```

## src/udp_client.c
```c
#include <zephyr/logging/log.h>
LOG_MODULE_REGISTER(udp_client, LOG_LEVEL_DBG);

#include <zephyr/kernel.h>
#include <zephyr/net/socket.h>
#include <zephyr/net/net_if.h>
#include <zephyr/net/net_mgmt.h>
#include <zephyr/net/net_event.h>
#include <zephyr/posix/arpa/inet.h>
#include <zephyr/posix/poll.h>

#include <string.h>

#define UDP_SERVER_IP "192.168.1.1"
#define UDP_SERVER_PORT 14550
#define UDP_LOCAL_PORT 14551

#define ETH_STACK_SIZE 2048
#define ETH_PRIORITY 5

static K_SEM_DEFINE(net_ready, 0, 1);
static struct k_thread eth_thread_data;
static K_KERNEL_STACK_DEFINE(eth_stack, ETH_STACK_SIZE);

static int sock = -1;



/*
 NOTE: Zephyr has PING support so you can use that to test connection without wireshark or server setup.
	   Just ping the target IP (UDP_SERVER_IP) from your host machine and you should see the logs in the console.
	   You can also send UDP packets to the same IP using netcat or similar tools to see the recv logs.
 */

static void net_mgmt_cb(struct net_mgmt_event_callback *cb,
			 uint64_t mgmt_event, struct net_if *iface)
{
	if (mgmt_event == NET_EVENT_IF_UP) {
		k_sem_give(&net_ready);
	}
}

static int wait_for_net(void)
{
	struct net_mgmt_event_callback mgmt_cb;

	net_mgmt_init_event_callback(&mgmt_cb, net_mgmt_cb, NET_EVENT_IF_UP);
	net_mgmt_add_event_callback(&mgmt_cb);

	if (net_if_is_up(net_if_get_default())) {
		k_sem_give(&net_ready);
	}

	k_sem_take(&net_ready, K_FOREVER);
	net_mgmt_del_event_callback(&mgmt_cb);

	return 0;
}

int udp_client_send(const void *data, size_t len)
{
	struct sockaddr_in server_addr = {
		.sin_family = AF_INET,
		.sin_port = htons(UDP_SERVER_PORT),
	};

	inet_pton(AF_INET, UDP_SERVER_IP, &server_addr.sin_addr);

	return sendto(sock, data, len, 0,
		      (struct sockaddr *)&server_addr, sizeof(server_addr));
}

int udp_client_recv(void *buf, size_t max_len, int timeout_ms)
{
	struct sockaddr_in from;
	socklen_t from_len = sizeof(from);
	struct pollfd pfd = {
		.fd = sock,
		.events = POLLIN,
	};

	if (poll(&pfd, 1, timeout_ms) <= 0) {
		return -EAGAIN;
	}

	return recvfrom(sock, buf, max_len, 0,
			(struct sockaddr *)&from, &from_len);
}

static void eth_thread(void *p1, void *p2, void *p3)
{
	int ret;

	ARG_UNUSED(p1);
	ARG_UNUSED(p2);
	ARG_UNUSED(p3);

	LOG_INF("UDP client thread started");

	wait_for_net();

	sock = socket(AF_INET, SOCK_DGRAM, IPPROTO_UDP);
	if (sock < 0) {
		LOG_ERR("Failed to create socket: %d", -errno);
		return;
	}

	struct sockaddr_in local_addr = {
		.sin_family = AF_INET,
		.sin_port = htons(UDP_LOCAL_PORT),
		.sin_addr.s_addr = htonl(INADDR_ANY),
	};

	ret = bind(sock, (struct sockaddr *)&local_addr, sizeof(local_addr));
	if (ret < 0) {
		LOG_ERR("Failed to bind socket: %d", -errno);
		zsock_close(sock);
		return;
	}

	LOG_INF("UDP socket bound to port %d", UDP_LOCAL_PORT);
	LOG_INF("Target: %s:%d", UDP_SERVER_IP, UDP_SERVER_PORT);

	char test_msg[] = "Status: OK";
	ret = udp_client_send(test_msg, sizeof(test_msg) - 1);

	if (ret > 0) {
		LOG_DBG("UDP send success: %d bytes", ret);
	} else {
		LOG_ERR("UDP send failed: %d", ret);
	}

	char rx_buf[512];
	while (1) {
		ret = udp_client_recv(rx_buf, sizeof(rx_buf) - 1, 100);
		if (ret > 0) {
			rx_buf[ret] = '\0';
			LOG_DBG("UDP recv: %s", rx_buf);
		}
		k_sleep(K_MSEC(100));
	}
}

void udp_client_init(void)
{
	LOG_INF("Initializing UDP client --- Make sure Ethernet cable is connected!");
	k_thread_create(&eth_thread_data, eth_stack,
			K_KERNEL_STACK_SIZEOF(eth_stack),
			eth_thread, NULL, NULL, NULL,
			ETH_PRIORITY, 0, K_NO_WAIT);
}

void udp_client_deinit(void)
{
	if (sock >= 0) {
		zsock_close(sock);
		sock = -1;
	}
}
```

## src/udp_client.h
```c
#ifndef UDP_CLIENT_H
#define UDP_CLIENT_H

int udp_client_init(void);
int udp_client_send(const void *data, size_t len);
int udp_client_recv(void *buf, size_t max_len);

#endif /* UDP_CLIENT_H */
```

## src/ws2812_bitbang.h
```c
#pragma once
#include <zephyr/drivers/gpio.h>
#include <zephyr/drivers/led_strip.h>

void ws2812_bb_init(const struct gpio_dt_spec *din_pin);
int  ws2812_bb_update(const struct gpio_dt_spec *din_pin,
                      struct led_rgb *pixels, size_t num_pixels);
```
